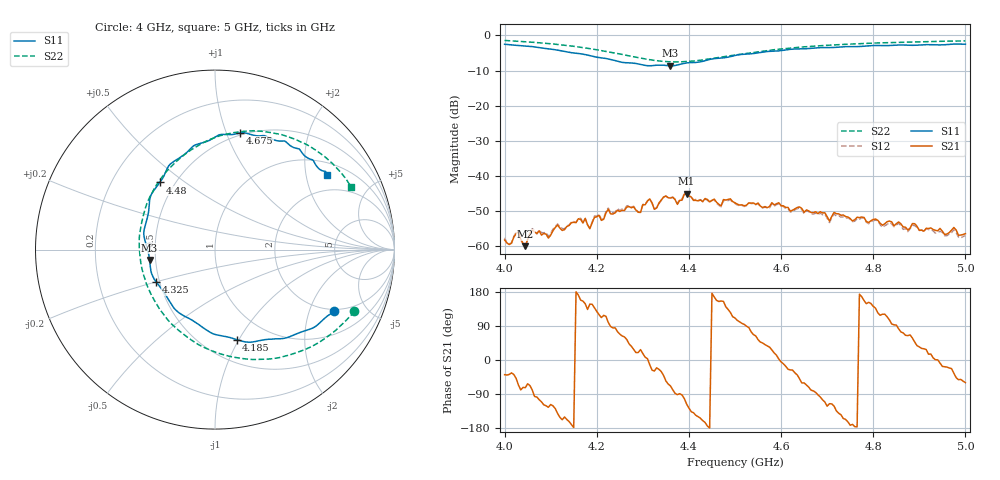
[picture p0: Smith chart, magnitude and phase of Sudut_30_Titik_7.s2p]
# Hz S RI R 50
! CMT, C1220, 16058040, 17.2.0/1
! Date: 15/08/2018 12:00:30
! Data: Format (Calibration Info)
! Freq  S11: Re/Im (F2)  S21: Re/Im (F2)  S12: Re/Im (F2)  S22: Re/Im (F2)
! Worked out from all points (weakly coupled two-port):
!   201 points, 4 GHz to 5 GHz, reference 50 ohm
!   highest |S21| = -45.10 dB at 4.395 GHz (marker M1); lowest = -60.1 dB at 4.045 GHz (marker M2)
!   lowest |S11| = -8.7 dB at 4.36 GHz (marker M3), VSWR 2.17, Z = 23.1 - j3.09 ohm
!   |S11| at or under -10 dB: nowhere
!   |S22| runs from -7.5 to -1.4 dB; largest |S21 - S12| = 0.00022
!   S11 on the Smith chart (normalised r, x): 4 GHz: 1.92, -2.99; 4.185 GHz: 0.72, -0.98; 4.325 GHz: 0.48, -0.20; 4.48 GHz: 0.41, +0.40; 4.675 GHz: 0.48, +1.12; 5 GHz: 1.41, +2.66
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4e9  0.6656 -0.3426  0.000948 -0.00076  0.00104 -0.000785  0.7758 -0.3429
4.015e9  0.6381 -0.3622  0.000916 -0.000618  0.000907 -0.000593  0.748 -0.3762
4.03e9  0.6047 -0.3887  0.000654 -0.00147  0.000691 -0.00142  0.7178 -0.4067
4.045e9  0.5704 -0.4202  0.00029 -0.000949  0.000392 -0.000916  0.6848 -0.4388
4.06e9  0.535 -0.4412  0.000315 -0.00164  0.000379 -0.00172  0.6495 -0.4684
4.095e9  0.4296 -0.4797  -0.000739 -0.00106  -0.000803 -0.00109  0.5531 -0.5324
4.115e9  0.3664 -0.4966  -0.00154 -0.00125  -0.0016 -0.00129  0.4857 -0.5626
4.17e9  0.1693 -0.5143  -0.00193 0.00088  -0.00199 0.000872  0.2783 -0.6105
4.185e9  0.1208 -0.5014  -0.00148 0.000945  -0.00155 0.000927  0.2144 -0.6125
4.225e9  -0.0266 -0.4611  -0.000519 0.0033  -0.000594 0.00342  0.0381 -0.5833
4.295e9  -0.2488 -0.2952  0.00267 0.00138  0.00274 0.00133  -0.2508 -0.4061
4.315e9  -0.2995 -0.2169  0.00455 -0.00102  0.00456 -0.00105  -0.3118 -0.3262
4.325e9  -0.3266 -0.1817  0.00291 -0.00161  0.00293 -0.00164  -0.3374 -0.2833
4.335e9  -0.3465 -0.1495  0.00372 -0.00171  0.00357 -0.00175  -0.3614 -0.2379
4.36e9  -0.3648 -0.0576  0.00176 -0.00449  0.00179 -0.00453  -0.4045 -0.1169
4.395e9  -0.3965 0.0838  -0.00245 -0.00499  -0.00259 -0.00508  -0.4222 0.0553
4.48e9  -0.3076 0.3743  -0.00348 0.00287  -0.00331 0.00286  -0.2917 0.4092
4.5e9  -0.2699 0.4424  -0.00147 0.00385  -0.00149 0.00374  -0.2392 0.4682
4.67e9  0.1313 0.6476  0.000439 -0.00295  0.000412 -0.0028  0.2414 0.6606
4.675e9  0.1413 0.6499  0.000239 -0.00306  0.000175 -0.00294  0.254 0.6596
4.835e9  0.438 0.5688  -0.000622 0.00217  -0.00061 0.00206  0.5744 0.5448
5e9  0.6253 0.4129  0.000761 -0.00129  0.000778 -0.00115  0.7602 0.3468
